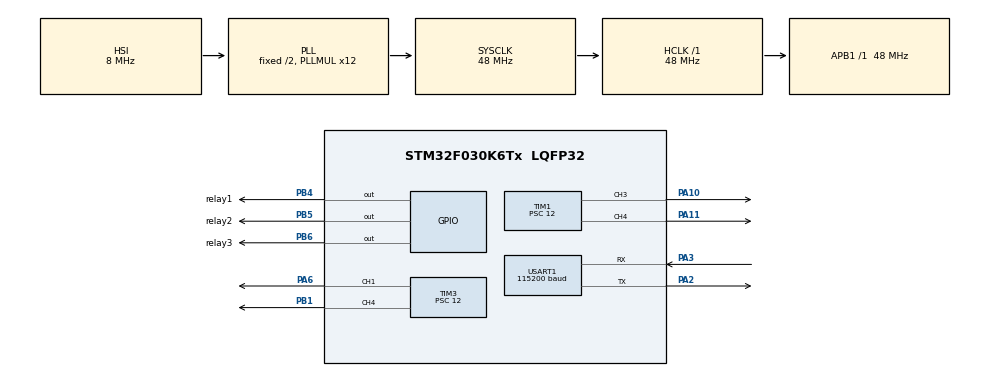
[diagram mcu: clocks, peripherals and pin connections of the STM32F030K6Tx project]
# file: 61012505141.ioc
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Mcu.Family=STM32F0
Mcu.Name=STM32F030K6Tx
Mcu.Package=LQFP32
NVIC.TIM3_IRQn=true\:0\:0\:false\:false\:true\:true\:true\:true
NVIC.USART1_IRQn=true\:0\:0\:false\:false\:true\:true\:true\:true
PA10.Signal=S_TIM1_CH3
PA11.Signal=S_TIM1_CH4
PA2.Mode=Asynchronous
PA2.Signal=USART1_TX
PA3.Mode=Asynchronous
PA3.Signal=USART1_RX
PA6.Signal=S_TIM3_CH1
PB1.Signal=S_TIM3_CH4
PB4.GPIO_Label=relay1
PB4.Signal=GPIO_Output
PB5.GPIO_Label=relay2
PB5.Signal=GPIO_Output
PB6.GPIO_Label=relay3
PB6.Signal=GPIO_Output
PF0-OSC_IN.Mode=HSE-External-Oscillator
PF0-OSC_IN.Signal=RCC_OSC_IN
PF1-OSC_OUT.Mode=HSE-External-Oscillator
PF1-OSC_OUT.Signal=RCC_OSC_OUT
ProjectManager.HeapSize=0x200
ProjectManager.StackSize=0x400
ProjectManager.TargetToolchain=STM32CubeIDE
RCC.AHBFreq_Value=48000000
RCC.APB1Freq_Value=48000000
RCC.APB1TimFreq_Value=48000000
RCC.HCLKFreq_Value=48000000
RCC.PLLMUL=RCC_PLL_MUL12
RCC.SYSCLKFreq_VALUE=48000000
RCC.SYSCLKSource=RCC_SYSCLKSOURCE_PLLCLK
SH.S_TIM1_CH3.0=TIM1_CH3,PWM Generation3 CH3
SH.S_TIM1_CH4.0=TIM1_CH4,PWM Generation4 CH4
SH.S_TIM3_CH1.0=TIM3_CH1,PWM Generation1 CH1
SH.S_TIM3_CH4.0=TIM3_CH4,PWM Generation4 CH4
TIM1.AutoReloadPreload=TIM_AUTORELOAD_PRELOAD_ENABLE
TIM1.Channel-PWM\ Generation3\ CH3=TIM_CHANNEL_3
TIM1.Channel-PWM\ Generation4\ CH4=TIM_CHANNEL_4
TIM1.Period=100-1
TIM1.Prescaler=12
TIM3.AutoReloadPreload=TIM_AUTORELOAD_PRELOAD_ENABLE
TIM3.Channel-PWM\ Generation1\ CH1=TIM_CHANNEL_1
TIM3.Channel-PWM\ Generation4\ CH4=TIM_CHANNEL_4
TIM3.Period=100-1
TIM3.Prescaler=12
USART1.BaudRate=115200
USART1.VirtualMode-Asynchronous=VM_ASYNC
board=custom

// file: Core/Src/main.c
/* USER CODE BEGIN Header */
/**
  ******************************************************************************
  * @file           : main.c
  * @brief          : Main program body
  ******************************************************************************
  * @attention
  *
  * Copyright (c) 2025 STMicroelectronics.
  * All rights reserved.
  *
  * This software is licensed under terms that can be found in the LICENSE file
  * in the root directory of this software component.
  * If no LICENSE file comes with this software, it is provided AS-IS.
  *
  ******************************************************************************
  */
/* USER CODE END Header */
#include "main.h"

/* USER CODE BEGIN Includes */
#include "led_control.h"
#include "uart_handler.h"
#include "mode_handler.h"
#include "globals.h"
/* USER CODE END Includes */

/* USER CODE BEGIN PTD */
Command cmd;
/* USER CODE END PTD */

TIM_HandleTypeDef htim1;
TIM_HandleTypeDef htim3;

UART_HandleTypeDef huart1;

void SystemClock_Config(void);
static void MX_GPIO_Init(void);
static void MX_TIM1_Init(void);
static void MX_USART1_UART_Init(void);
static void MX_TIM3_Init(void);

/* USER CODE BEGIN 0 */
void ResetUART(void) {
	 HAL_UART_DeInit(&huart1);
	  MX_USART1_UART_Init();
	  HAL_UART_Receive_IT(&huart1, getRxBuffer(), 1);
}
/* USER CODE END 0 */

int main(void)
{

  /* MCU Configuration--------------------------------------------------------*/

  /* Reset of all peripherals, Initializes the Flash interface and the Systick. */
  HAL_Init();

  /* Configure the system clock */
  SystemClock_Config();

  /* Initialize all configured peripherals */
  MX_GPIO_Init();
  MX_TIM1_Init();
  MX_USART1_UART_Init();
  MX_TIM3_Init();
  /* USER CODE BEGIN 2 */

  HAL_TIM_PWM_Start(&htim1, TIM_CHANNEL_3);
    HAL_TIM_PWM_Start(&htim1, TIM_CHANNEL_4);
    HAL_TIM_PWM_Start(&htim3, TIM_CHANNEL_1);
    HAL_TIM_PWM_Start(&htim3, TIM_CHANNEL_4);

  HAL_UART_Receive_IT(&huart1, (uint8_t*)&huart1.Instance->RDR, 1);

  initializeLEDs();

  /* USER CODE END 2 */

  /* Infinite loop */
  /* USER CODE BEGIN WHILE */
  while (1)
  {
      if (isDataReady()) {
          // Process received data
          uint8_t *rxData = getRxBuffer(); // Retrieve the buffer pointer
    	        cmd = parseCommand(rxData); // Parse the command
    	        handleCommand(cmd);
    	  resetDataReady();   // Reset the data ready flag
          // Here, you can process rxBuffer and perform further actions
      }
    /* USER CODE END WHILE */

  }
}

void SystemClock_Config(void)
{
  RCC_OscInitTypeDef RCC_OscInitStruct = {0};
  RCC_ClkInitTypeDef RCC_ClkInitStruct = {0};
  RCC_PeriphCLKInitTypeDef PeriphClkInit = {0};

  /** Initializes the RCC Oscillators according to the specified parameters
  * in the RCC_OscInitTypeDef structure.
  */
  RCC_OscInitStruct.OscillatorType = RCC_OSCILLATORTYPE_HSI;
  RCC_OscInitStruct.HSIState = RCC_HSI_ON;
  RCC_OscInitStruct.HSICalibrationValue = RCC_HSICALIBRATION_DEFAULT;
  RCC_OscInitStruct.PLL.PLLState = RCC_PLL_ON;
  RCC_OscInitStruct.PLL.PLLSource = RCC_PLLSOURCE_HSI;
  RCC_OscInitStruct.PLL.PLLMUL = RCC_PLL_MUL12;
  RCC_OscInitStruct.PLL.PREDIV = RCC_PREDIV_DIV1;
  if (HAL_RCC_OscConfig(&RCC_OscInitStruct) != HAL_OK)
  {
    Error_Handler();
  }

  /** Initializes the CPU, AHB and APB buses clocks
  */
  RCC_ClkInitStruct.ClockType = RCC_CLOCKTYPE_HCLK|RCC_CLOCKTYPE_SYSCLK
                              |RCC_CLOCKTYPE_PCLK1;
  RCC_ClkInitStruct.SYSCLKSource = RCC_SYSCLKSOURCE_PLLCLK;
  RCC_ClkInitStruct.AHBCLKDivider = RCC_SYSCLK_DIV1;
  RCC_ClkInitStruct.APB1CLKDivider = RCC_HCLK_DIV1;

  if (HAL_RCC_ClockConfig(&RCC_ClkInitStruct, FLASH_LATENCY_1) != HAL_OK)
  {
    Error_Handler();
  }
  PeriphClkInit.PeriphClockSelection = RCC_PERIPHCLK_USART1;
  PeriphClkInit.Usart1ClockSelection = RCC_USART1CLKSOURCE_PCLK1;
  if (HAL_RCCEx_PeriphCLKConfig(&PeriphClkInit) != HAL_OK)
  {
    Error_Handler();
  }
}

static void MX_TIM1_Init(void)
{

  TIM_MasterConfigTypeDef sMasterConfig = {0};
  TIM_OC_InitTypeDef sConfigOC = {0};
  TIM_BreakDeadTimeConfigTypeDef sBreakDeadTimeConfig = {0};

  htim1.Instance = TIM1;
  htim1.Init.Prescaler = 12;
  htim1.Init.CounterMode = TIM_COUNTERMODE_UP;
  htim1.Init.Period = 100-1;
  htim1.Init.ClockDivision = TIM_CLOCKDIVISION_DIV1;
  htim1.Init.RepetitionCounter = 0;
  htim1.Init.AutoReloadPreload = TIM_AUTORELOAD_PRELOAD_ENABLE;
  if (HAL_TIM_PWM_Init(&htim1) != HAL_OK)
  {
    Error_Handler();
  }
  sMasterConfig.MasterOutputTrigger = TIM_TRGO_RESET;
  sMasterConfig.MasterSlaveMode = TIM_MASTERSLAVEMODE_DISABLE;
  if (HAL_TIMEx_MasterConfigSynchronization(&htim1, &sMasterConfig) != HAL_OK)
  {
    Error_Handler();
  }
  sConfigOC.OCMode = TIM_OCMODE_PWM1;
  sConfigOC.Pulse = 0;
  sConfigOC.OCPolarity = TIM_OCPOLARITY_HIGH;
  sConfigOC.OCNPolarity = TIM_OCNPOLARITY_HIGH;
  sConfigOC.OCFastMode = TIM_OCFAST_DISABLE;
  sConfigOC.OCIdleState = TIM_OCIDLESTATE_RESET;
  sConfigOC.OCNIdleState = TIM_OCNIDLESTATE_RESET;
  if (HAL_TIM_PWM_ConfigChannel(&htim1, &sConfigOC, TIM_CHANNEL_3) != HAL_OK)
  {
    Error_Handler();
  }
  if (HAL_TIM_PWM_ConfigChannel(&htim1, &sConfigOC, TIM_CHANNEL_4) != HAL_OK)
  {
    Error_Handler();
  }
  sBreakDeadTimeConfig.OffStateRunMode = TIM_OSSR_DISABLE;
  sBreakDeadTimeConfig.OffStateIDLEMode = TIM_OSSI_DISABLE;
  sBreakDeadTimeConfig.LockLevel = TIM_LOCKLEVEL_OFF;
  sBreakDeadTimeConfig.DeadTime = 0;
  sBreakDeadTimeConfig.BreakState = TIM_BREAK_DISABLE;
  sBreakDeadTimeConfig.BreakPolarity = TIM_BREAKPOLARITY_HIGH;
  sBreakDeadTimeConfig.AutomaticOutput = TIM_AUTOMATICOUTPUT_DISABLE;
  if (HAL_TIMEx_ConfigBreakDeadTime(&htim1, &sBreakDeadTimeConfig) != HAL_OK)
  {
    Error_Handler();
  }
  HAL_TIM_MspPostInit(&htim1);

}

static void MX_TIM3_Init(void)
{

  TIM_MasterConfigTypeDef sMasterConfig = {0};
  TIM_OC_InitTypeDef sConfigOC = {0};

  htim3.Instance = TIM3;
  htim3.Init.Prescaler = 12;
  htim3.Init.CounterMode = TIM_COUNTERMODE_UP;
  htim3.Init.Period = 100-1;
  htim3.Init.ClockDivision = TIM_CLOCKDIVISION_DIV1;
  htim3.Init.AutoReloadPreload = TIM_AUTORELOAD_PRELOAD_ENABLE;
  if (HAL_TIM_PWM_Init(&htim3) != HAL_OK)
  {
    Error_Handler();
  }
  sMasterConfig.MasterOutputTrigger = TIM_TRGO_RESET;
  sMasterConfig.MasterSlaveMode = TIM_MASTERSLAVEMODE_DISABLE;
  if (HAL_TIMEx_MasterConfigSynchronization(&htim3, &sMasterConfig) != HAL_OK)
  {
    Error_Handler();
  }
  sConfigOC.OCMode = TIM_OCMODE_PWM1;
  sConfigOC.Pulse = 0;
  sConfigOC.OCPolarity = TIM_OCPOLARITY_HIGH;
  sConfigOC.OCFastMode = TIM_OCFAST_DISABLE;
  if (HAL_TIM_PWM_ConfigChannel(&htim3, &sConfigOC, TIM_CHANNEL_1) != HAL_OK)
  {
    Error_Handler();
  }
  if (HAL_TIM_PWM_ConfigChannel(&htim3, &sConfigOC, TIM_CHANNEL_4) != HAL_OK)
  {
    Error_Handler();
  }
  HAL_TIM_MspPostInit(&htim3);

}

static void MX_USART1_UART_Init(void)
{

  huart1.Instance = USART1;
  huart1.Init.BaudRate = 9600;
  huart1.Init.WordLength = UART_WORDLENGTH_8B;
  huart1.Init.StopBits = UART_STOPBITS_1;
  huart1.Init.Parity = UART_PARITY_NONE;
  huart1.Init.Mode = UART_MODE_TX_RX;
  huart1.Init.HwFlowCtl = UART_HWCONTROL_NONE;
  huart1.Init.OverSampling = UART_OVERSAMPLING_16;
  huart1.Init.OneBitSampling = UART_ONE_BIT_SAMPLE_DISABLE;
  huart1.AdvancedInit.AdvFeatureInit = UART_ADVFEATURE_NO_INIT;
  if (HAL_UART_Init(&huart1) != HAL_OK)
  {
    Error_Handler();
  }

}

static void MX_GPIO_Init(void)
{
  GPIO_InitTypeDef GPIO_InitStruct = {0};

  /* GPIO Ports Clock Enable */
  __HAL_RCC_GPIOF_CLK_ENABLE();
  __HAL_RCC_GPIOA_CLK_ENABLE();
  __HAL_RCC_GPIOB_CLK_ENABLE();

  /*Configure GPIO pin Output Level */
  HAL_GPIO_WritePin(GPIOB, relay1_Pin|relay2_Pin|relay3_Pin, GPIO_PIN_RESET);

  /*Configure GPIO pins : relay1_Pin relay2_Pin relay3_Pin */
  GPIO_InitStruct.Pin = relay1_Pin|relay2_Pin|relay3_Pin;
  GPIO_InitStruct.Mode = GPIO_MODE_OUTPUT_PP;
  GPIO_InitStruct.Pull = GPIO_NOPULL;
  GPIO_InitStruct.Speed = GPIO_SPEED_FREQ_LOW;
  HAL_GPIO_Init(GPIOB, &GPIO_InitStruct);

}

void Error_Handler(void)
{
  __disable_irq();
  while (1)
  {
  }
}
